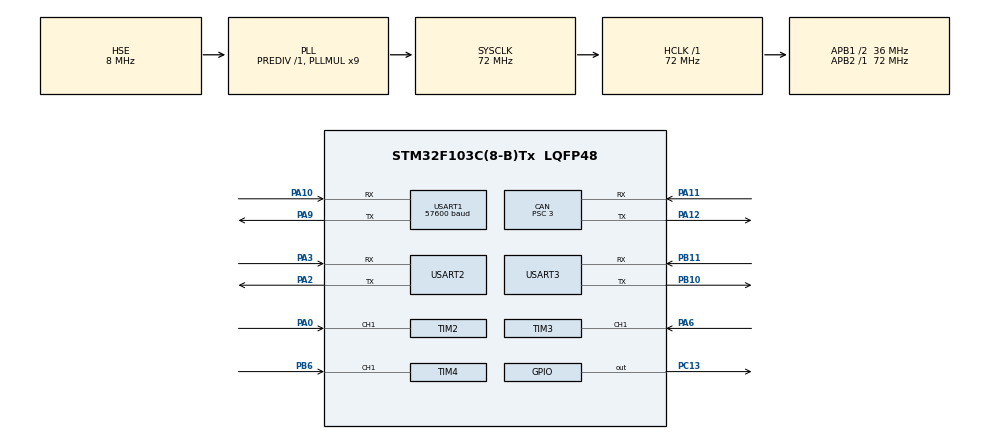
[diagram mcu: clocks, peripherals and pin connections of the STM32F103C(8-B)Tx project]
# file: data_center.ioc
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CAN.BS1=CAN_BS1_5TQ
CAN.BS2=CAN_BS2_6TQ
CAN.CalculateTimeBit=1000
CAN.CalculateTimeQuantum=83.33333333333334
CAN.Prescaler=3
Dma.Request0=USART3_RX
Dma.Request1=USART1_TX
Dma.Request2=USART2_RX
Dma.USART1_TX.1.Direction=DMA_MEMORY_TO_PERIPH
Dma.USART1_TX.1.Instance=DMA1_Channel4
Dma.USART1_TX.1.MemDataAlignment=DMA_MDATAALIGN_BYTE
Dma.USART1_TX.1.MemInc=DMA_MINC_ENABLE
Dma.USART1_TX.1.Mode=DMA_NORMAL
Dma.USART1_TX.1.PeriphDataAlignment=DMA_PDATAALIGN_BYTE
Dma.USART1_TX.1.PeriphInc=DMA_PINC_DISABLE
Dma.USART1_TX.1.Priority=DMA_PRIORITY_LOW
Dma.USART2_RX.2.Direction=DMA_PERIPH_TO_MEMORY
Dma.USART2_RX.2.Instance=DMA1_Channel6
Dma.USART2_RX.2.MemDataAlignment=DMA_MDATAALIGN_BYTE
Dma.USART2_RX.2.MemInc=DMA_MINC_ENABLE
Dma.USART2_RX.2.Mode=DMA_NORMAL
Dma.USART2_RX.2.PeriphDataAlignment=DMA_PDATAALIGN_BYTE
Dma.USART2_RX.2.PeriphInc=DMA_PINC_DISABLE
Dma.USART2_RX.2.Priority=DMA_PRIORITY_LOW
Dma.USART3_RX.0.Direction=DMA_PERIPH_TO_MEMORY
Dma.USART3_RX.0.Instance=DMA1_Channel3
Dma.USART3_RX.0.MemDataAlignment=DMA_MDATAALIGN_BYTE
Dma.USART3_RX.0.MemInc=DMA_MINC_ENABLE
Dma.USART3_RX.0.Mode=DMA_NORMAL
Dma.USART3_RX.0.PeriphDataAlignment=DMA_PDATAALIGN_BYTE
Dma.USART3_RX.0.PeriphInc=DMA_PINC_DISABLE
Dma.USART3_RX.0.Priority=DMA_PRIORITY_LOW
IWDG.Prescaler=IWDG_PRESCALER_32
Mcu.Family=STM32F1
Mcu.Name=STM32F103C(8-B)Tx
Mcu.Package=LQFP48
NVIC.DMA1_Channel3_IRQn=true\:0\:0\:false\:false\:true\:false\:true
NVIC.DMA1_Channel4_IRQn=true\:0\:0\:false\:false\:true\:false\:true
NVIC.DMA1_Channel6_IRQn=true\:0\:0\:false\:false\:true\:false\:true
NVIC.PriorityGroup=NVIC_PRIORITYGROUP_4
NVIC.TIM2_IRQn=true\:0\:0\:false\:false\:true\:true\:true
NVIC.TIM3_IRQn=true\:0\:0\:false\:false\:true\:true\:true
NVIC.TIM4_IRQn=true\:0\:0\:false\:false\:true\:true\:true
NVIC.USART1_IRQn=true\:0\:0\:false\:false\:true\:true\:true
NVIC.USB_LP_CAN1_RX0_IRQn=true\:0\:0\:false\:false\:true\:true\:true
PA0-WKUP.Signal=S_TIM2_CH1_ETR
PA10.Mode=Asynchronous
PA10.Signal=USART1_RX
PA11.Mode=Master
PA11.Signal=CAN_RX
PA12.Mode=Master
PA12.Signal=CAN_TX
PA13.Mode=Serial_Wire
PA13.Signal=SYS_JTMS-SWDIO
PA14.Mode=Serial_Wire
PA14.Signal=SYS_JTCK-SWCLK
PA2.Mode=Asynchronous
PA2.Signal=USART2_TX
PA3.Mode=Asynchronous
PA3.Signal=USART2_RX
PA6.Signal=S_TIM3_CH1
PA9.Mode=Asynchronous
PA9.Signal=USART1_TX
PB10.Mode=Asynchronous
PB10.Signal=USART3_TX
PB11.Mode=Asynchronous
PB11.Signal=USART3_RX
PB6.Signal=S_TIM4_CH1
PC13-TAMPER-RTC.Signal=GPIO_Output
PD0-OSC_IN.Mode=HSE-External-Oscillator
PD0-OSC_IN.Signal=RCC_OSC_IN
PD1-OSC_OUT.Mode=HSE-External-Oscillator
PD1-OSC_OUT.Signal=RCC_OSC_OUT
ProjectManager.HeapSize=0x200
ProjectManager.StackSize=0x400
ProjectManager.TargetToolchain=MDK-ARM V5
RCC.AHBFreq_Value=72000000
RCC.APB1CLKDivider=RCC_HCLK_DIV2
RCC.APB1Freq_Value=36000000
RCC.APB1TimFreq_Value=72000000
RCC.APB2Freq_Value=72000000
RCC.APB2TimFreq_Value=72000000
RCC.HCLKFreq_Value=72000000
RCC.PLLMUL=RCC_PLL_MUL9
RCC.PLLSourceVirtual=RCC_PLLSOURCE_HSE
RCC.SYSCLKFreq_VALUE=72000000
RCC.SYSCLKSource=RCC_SYSCLKSOURCE_PLLCLK
RCC.USBFreq_Value=72000000
SH.S_TIM2_CH1_ETR.0=TIM2_CH1,TriggerSource_TI1FP1
SH.S_TIM2_CH1_ETR.1=TIM2_CH1,Input_Capture1_from_TI1
SH.S_TIM2_CH1_ETR.2=TIM2_CH1,Input_Capture2_from_TI1
SH.S_TIM3_CH1.0=TIM3_CH1,TriggerSource_TI1FP1
SH.S_TIM3_CH1.1=TIM3_CH1,Input_Capture1_from_TI1
SH.S_TIM3_CH1.2=TIM3_CH1,Input_Capture2_from_TI1
SH.S_TIM4_CH1.0=TIM4_CH1,Input_Capture1_from_TI1
SH.S_TIM4_CH1.1=TIM4_CH1,Input_Capture2_from_TI1
SH.S_TIM4_CH1.2=TIM4_CH1,TriggerSource_TI1FP1
TIM2.Channel-Input_Capture1_from_TI1=TIM_CHANNEL_1
TIM2.Channel-Input_Capture2_from_TI1=TIM_CHANNEL_2
TIM2.ICPolarity_CH2=TIM_INPUTCHANNELPOLARITY_FALLING
TIM2.Period=0xFFFF
TIM2.Prescaler=8
TIM3.Channel-Input_Capture1_from_TI1=TIM_CHANNEL_1
TIM3.Channel-Input_Capture2_from_TI1=TIM_CHANNEL_2
TIM3.ICPolarity_CH2=TIM_INPUTCHANNELPOLARITY_FALLING
TIM3.Period=0xFFFF
TIM3.Prescaler=8
TIM4.Channel-Input_Capture1_from_TI1=TIM_CHANNEL_1
TIM4.Channel-Input_Capture2_from_TI1=TIM_CHANNEL_2
TIM4.ICPolarity_CH2=TIM_INPUTCHANNELPOLARITY_FALLING
TIM4.Period=0xFFFF
TIM4.Prescaler=8
USART1.BaudRate=57600
USART1.VirtualMode=VM_ASYNC
USART2.VirtualMode=VM_ASYNC
USART3.VirtualMode=VM_ASYNC
VP_IWDG_VS_IWDG.Mode=IWDG_Activate
VP_TIM2_VS_ClockSourceINT.Mode=Internal
VP_TIM2_VS_ControllerModeReset.Mode=Reset Mode
VP_TIM3_VS_ClockSourceINT.Mode=Internal
VP_TIM3_VS_ControllerModeReset.Mode=Reset Mode
VP_TIM4_VS_ClockSourceINT.Mode=Internal
VP_TIM4_VS_ControllerModeReset.Mode=Reset Mode
board=custom

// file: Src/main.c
/* USER CODE BEGIN Header */
/**
  ******************************************************************************
  * @file           : main.c
  * @brief          : Main program body
  ******************************************************************************
  * @attention
  *
  * <h2><center>&copy; Copyright (c) 2019 STMicroelectronics.
  * All rights reserved.</center></h2>
  *
  * This software component is licensed by ST under BSD 3-Clause license,
  * the "License"; You may not use this file except in compliance with the
  * License. You may obtain a copy of the License at:
  *                        opensource.org/licenses/BSD-3-Clause
  *
  ******************************************************************************
  */
/* USER CODE END Header */

#include "main.h"
#include "can.h"
#include "dma.h"
#include "iwdg.h"
#include "tim.h"
#include "usart.h"
#include "gpio.h"

/* USER CODE BEGIN Includes */
#include "bluetooth.h"
/* USER CODE END Includes */

/* USER CODE BEGIN PV */
gameinfo info={0,0,0,0,0,0,0,0,0,0,0,0,0,0,0,0,0};
char send[18]={0};
/* USER CODE END PV */

void SystemClock_Config(void);

/* USER CODE BEGIN 0 */
void usart2_send(uint8_t data)
{
	USART2->DR = data;
	while((USART2->SR&0x40)==0);
}
/* USER CODE END 0 */

int main(void)
{

  /* MCU Configuration--------------------------------------------------------*/

  /* Reset of all peripherals, Initializes the Flash interface and the Systick. */
  HAL_Init();

  /* Configure the system clock */
  SystemClock_Config();

  /* Initialize all configured peripherals */
  MX_GPIO_Init();
  MX_DMA_Init();
  MX_USART1_UART_Init();
  MX_USART3_UART_Init();
  MX_CAN_Init();
  MX_IWDG_Init();
  MX_USART2_UART_Init();
  MX_TIM2_Init();
  MX_TIM3_Init();
  MX_TIM4_Init();
  /* USER CODE BEGIN 2 */
	USER_CAN_Init();
	usart2_init(36,115200);
	uint32_t print_time = 0;
	HAL_TIM_IC_Start_IT(&htim2, TIM_CHANNEL_1);
	HAL_TIM_IC_Start_IT(&htim2, TIM_CHANNEL_2);
	HAL_TIM_IC_Start_IT(&htim3, TIM_CHANNEL_1);
	HAL_TIM_IC_Start_IT(&htim3, TIM_CHANNEL_2);
	HAL_TIM_IC_Start_IT(&htim4, TIM_CHANNEL_1);
	HAL_TIM_IC_Start_IT(&htim4, TIM_CHANNEL_2);

	int cnt = 0;
  /* USER CODE END 2 */

  /* Infinite loop */
  while (1)
  {

    /* USER CODE BEGIN 3 */

		usart_task();
		send[0]=0xff;
		send[1]=0xfe;
		send[2]=((uint16_t)(info.yaw + 2000))&0x7f;
		send[3]=((uint16_t)(info.yaw + 2000))>>7;
		send[4]=info.cvxf;
		send[5]=info.cvxb;
		send[6]=info.cvxl;
		send[7]=info.cvxr;
		send[8] = info.mixed0;
		send[9] = info.mixed1;
		send[10] = info.AXL;
		send[11] = info.AYL;
		send[12] = info.BXL;
		send[13] = info.BYL;
		send[14] = info.P1XL;
		send[15] = info.P1YL;
		send[16] = info.P2XL;
		send[17] = info.P2YL;
		if (HAL_GetTick() > print_time)
		{
			HAL_UART_Transmit_DMA(&huart1, (uint8_t *)send, sizeof(send));
			print_time = HAL_GetTick() + 20;
			HAL_IWDG_Refresh(&hiwdg);
			if (cnt == 9)
			{
				HAL_GPIO_TogglePin(GPIOC, GPIO_PIN_13);
				cnt = 0;
			}
			else cnt++;
			//usart2_send(0x0f);
		}
  }
  /* USER CODE END 3 */
}

void SystemClock_Config(void)
{
  RCC_OscInitTypeDef RCC_OscInitStruct = {0};
  RCC_ClkInitTypeDef RCC_ClkInitStruct = {0};

  /** Initializes the CPU, AHB and APB busses clocks
  */
  RCC_OscInitStruct.OscillatorType = RCC_OSCILLATORTYPE_LSI|RCC_OSCILLATORTYPE_HSE;
  RCC_OscInitStruct.HSEState = RCC_HSE_ON;
  RCC_OscInitStruct.HSEPredivValue = RCC_HSE_PREDIV_DIV1;
  RCC_OscInitStruct.HSIState = RCC_HSI_ON;
  RCC_OscInitStruct.LSIState = RCC_LSI_ON;
  RCC_OscInitStruct.PLL.PLLState = RCC_PLL_ON;
  RCC_OscInitStruct.PLL.PLLSource = RCC_PLLSOURCE_HSE;
  RCC_OscInitStruct.PLL.PLLMUL = RCC_PLL_MUL9;
  if (HAL_RCC_OscConfig(&RCC_OscInitStruct) != HAL_OK)
  {
    Error_Handler();
  }
  /** Initializes the CPU, AHB and APB busses clocks
  */
  RCC_ClkInitStruct.ClockType = RCC_CLOCKTYPE_HCLK|RCC_CLOCKTYPE_SYSCLK
                              |RCC_CLOCKTYPE_PCLK1|RCC_CLOCKTYPE_PCLK2;
  RCC_ClkInitStruct.SYSCLKSource = RCC_SYSCLKSOURCE_PLLCLK;
  RCC_ClkInitStruct.AHBCLKDivider = RCC_SYSCLK_DIV1;
  RCC_ClkInitStruct.APB1CLKDivider = RCC_HCLK_DIV2;
  RCC_ClkInitStruct.APB2CLKDivider = RCC_HCLK_DIV1;

  if (HAL_RCC_ClockConfig(&RCC_ClkInitStruct, FLASH_LATENCY_2) != HAL_OK)
  {
    Error_Handler();
  }
}

void Error_Handler(void)
{
}

/************************ (C) COPYRIGHT STMicroelectronics *****END OF FILE****/
